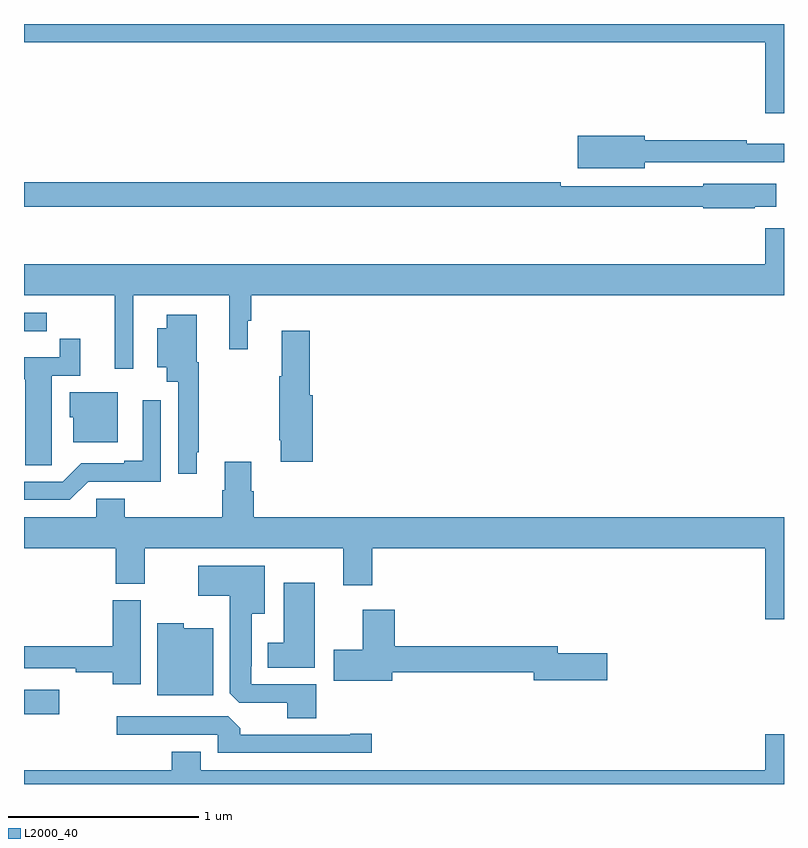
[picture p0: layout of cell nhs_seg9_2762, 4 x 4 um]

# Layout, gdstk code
import gdstk
lib = gdstk.Library(unit=1e-6, precision=1e-09)
def R(c, l, rs):  # rectangles x0, y0, x1, y1
    for r in rs: c.add(gdstk.rectangle(r[:2], r[2:], *l))
def P(c, l, *ps):  # polygons
    for p in ps: c.add(gdstk.Polygon(p, *l))
L2000_40 = (2000, 40)

nhs_seg9_2762 = lib.new_cell('nhs_seg9_2762')
R(nhs_seg9_2762, L2000_40, [(269,1208.866,269.185,1208.995)])
P(nhs_seg9_2762, L2000_40, [(273,1212.5),(269,1212.5),(269,1212.404),(272.9,1212.404),(272.9,1212.03),(273,1212.03)],
  [(272.266,1211.772),(273,1211.772),(273,1211.869),(272.804,1211.869),(272.804,1211.888),(272.266,1211.888),(272.266,1211.912),(271.914,1211.912),(271.914,1211.741),(272.266,1211.741)],
  [(272.846,1211.537),(272.959,1211.537),(272.959,1211.659),(272.574,1211.659),(272.574,1211.646),(271.826,1211.646),(271.826,1211.666),(269,1211.666),(269,1211.538),(272.574,1211.538),(272.574,1211.53),(272.846,1211.53)],
  [(269.574,1211.072),(270.08,1211.072),(270.08,1210.788),(270.178,1210.788),(270.178,1210.938),(270.197,1210.938),(270.197,1211.072),(273,1211.072),(273,1211.425),(272.9,1211.425),(272.9,1211.236),(269,1211.236),(269,1211.072),(269.477,1211.072),(269.477,1210.686),(269.574,1210.686)],
  [(269.006,1210.884),(269.119,1210.884),(269.119,1210.98),(269,1210.98),(269,1210.883),(269.006,1210.883)],
  [(269.908,1210.246),(269.92,1210.246),(269.92,1210.72),(269.908,1210.72),(269.908,1210.969),(269.75,1210.969),(269.75,1210.9),(269.702,1210.9),(269.702,1210.694),(269.75,1210.694),(269.75,1210.616),(269.811,1210.616),(269.811,1210.134),(269.908,1210.134)],
  [(270.521,1210.545),(270.503,1210.545),(270.503,1210.885),(270.356,1210.885),(270.356,1210.645),(270.343,1210.645),(270.343,1210.309),(270.35,1210.309),(270.35,1210.197),(270.521,1210.197)],
  [(269.145,1210.288),(269.146,1210.288),(269.146,1210.65),(269.297,1210.65),(269.297,1210.843),(269.188,1210.843),(269.188,1210.746),(269,1210.746),(269,1210.63),(269.006,1210.63),(269.006,1210.177),(269.145,1210.177)],
  [(269.494,1210.561),(269.24,1210.561),(269.24,1210.431),(269.258,1210.431),(269.258,1210.298),(269.494,1210.298)],
  [(269.337,1210.092),(269.721,1210.092),(269.721,1210.519),(269.624,1210.519),(269.624,1210.201),(269.528,1210.201),(269.528,1210.188),(269.301,1210.188),(269.205,1210.092),(269,1210.092),(269,1209.996),(269.241,1209.996)],
  [(270.209,1210.041),(270.196,1210.041),(270.196,1210.195),(270.056,1210.195),(270.056,1210.046),(270.044,1210.046),(270.044,1209.904),(269.531,1209.904),(269.531,1210.002),(269.379,1210.002),(269.379,1209.904),(269,1209.904),(269,1209.74),(269.483,1209.74),(269.483,1209.553),(269.635,1209.553),(269.635,1209.74),(270.68,1209.74),(270.68,1209.546),(270.833,1209.546),(270.833,1209.74),(272.9,1209.74),(272.9,1209.366),(273,1209.366),(273,1209.904),(270.209,1209.904)],
  [(270.539,1209.024),(270.195,1209.024),(270.195,1209.121),(270.199,1209.121),(270.199,1209.395),(270.268,1209.395),(270.268,1209.649),(269.916,1209.649),(269.916,1209.491),(270.083,1209.491),(270.083,1208.977),(270.132,1208.928),(270.386,1208.928),(270.386,1208.845),(270.539,1208.845)],
  [(270.529,1209.559),(270.368,1209.559),(270.368,1209.244),(270.284,1209.244),(270.284,1209.113),(270.529,1209.113)],
  [(269.614,1209.468),(269.468,1209.468),(269.468,1209.224),(269,1209.224),(269,1209.108),(269.272,1209.108),(269.272,1209.088),(269.468,1209.088),(269.468,1209.024),(269.614,1209.024)],
  [(270.937,1209.088),(271.682,1209.088),(271.682,1209.046),(272.071,1209.046),(272.071,1209.188),(271.81,1209.188),(271.81,1209.224),(270.95,1209.224),(270.95,1209.418),(270.782,1209.418),(270.782,1209.207),(270.63,1209.207),(270.63,1209.044),(270.937,1209.044)],
  [(269.995,1209.319),(269.841,1209.319),(269.841,1209.346),(269.702,1209.346),(269.702,1208.966),(269.995,1208.966)],
  [(270.829,1208.765),(270.716,1208.765),(270.716,1208.76),(270.137,1208.76),(270.137,1208.794),(270.075,1208.856),(269.487,1208.856),(269.487,1208.76),(270.021,1208.76),(270.021,1208.664),(270.829,1208.664)],
  [(273,1208.761),(272.9,1208.761),(272.9,1208.572),(269.929,1208.572),(269.929,1208.671),(269.777,1208.671),(269.777,1208.572),(269,1208.572),(269,1208.5),(273,1208.5)])

lib.write_gds('nhs_seg9_2762.gds')
